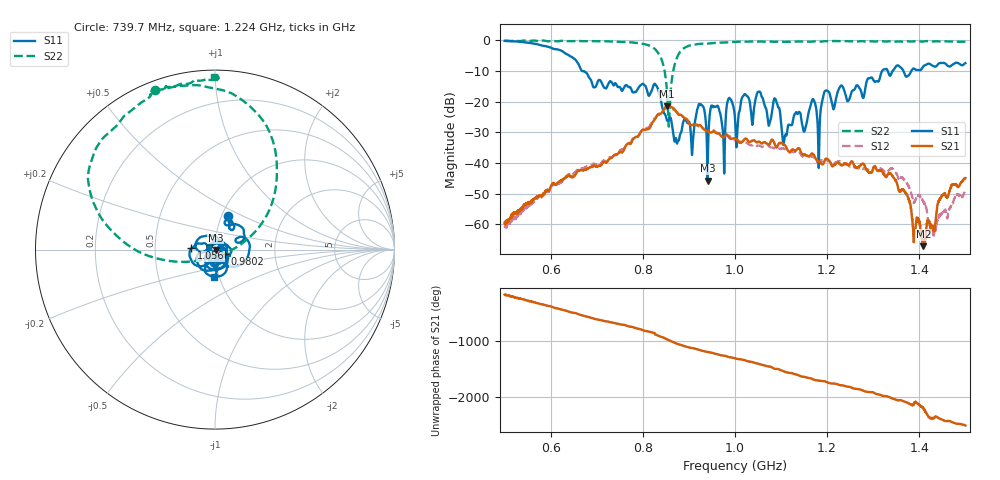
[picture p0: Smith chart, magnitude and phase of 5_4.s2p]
!Agilent Technologies,E8364B,US42250235,A.06.04.32
!Agilent E8364B: A.06.04.32
!Date: Thursday, October 01, 2020 14:40:48
!Correction: S11(Full 2 Port(1,2)) S21(Full 2 Port(1,2)) S12(Full 2 Port(1,2)) S22(Full 2 Port(1,2))
!S2P File: Measurements: S11, S21, S12, S22:
# Hz S  dB  R 50
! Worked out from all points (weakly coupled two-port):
!   2650 points, 500 MHz to 1.5 GHz, reference 50 ohm
!   highest |S21| = -21.59 dB at 851.8 MHz (marker M1); lowest = -67.1 dB at 1.409 GHz (marker M2)
!   lowest |S11| = -45.8 dB at 940.5 MHz (marker M3), VSWR 1.01, Z = 50.5 - j0.205 ohm
!   |S11| at or under -10 dB: 667.7 MHz to 1.319 GHz (651.7 MHz wide, 65.6 % of centre); 1.331 GHz to 1.342 GHz (11.06 MHz wide, 0.827 % of centre); 1.365 GHz to 1.383 GHz (17.37 MHz wide, 1.26 % of centre)
!   |S22| runs from -28.1 to -0.1 dB; largest |S21 - S12| = 0.034
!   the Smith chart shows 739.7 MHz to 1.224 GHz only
!   S11 on the Smith chart (normalised r, x): 739.7 MHz: 1.08, +0.41; 980.2 MHz: 1.11, -0.06; 1.056 GHz: 0.77, +0.01; 1.224 GHz: 0.94, -0.29
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5e8  -0.24 -175.1  -59.60 -176.6  -60.97 159.8  -0.16 136.0
5.962627e8  -2.19 123.0  -49.14 -18.8  -49.38 -24.5  -0.34 126.6
6.668554e8  -9.84 65.3  -42.29 176.3  -41.89 -175.9  -0.31 119.7
7.397131e8  -14.02 68.3  -37.28 32.1  -37.47 46.1  -0.44 110.5
8.337108e8  -16.24 -36.7  -24.03 170.2  -24.32 -168.3  -4.27 56.0
8.518309e8  -25.93 -60.6  -21.59 108.6  -21.75 132.2  -15.54 14.8
8.839185e8  -29.59 93.5  -24.44 2.3  -24.48 23.9  -3.27 162.2
9.258211e8  -20.88 -27.8  -27.82 -91.8  -28.07 -71.2  -1.16 137.8
9.405436e8  -45.78 -23.2  -29.65 -119.1  -29.79 -100.6  -1.12 130.4
9.518686e8  -21.67 -53.3  -29.74 -137.6  -29.22 -124.8  -0.96 125.1
9.801812e8  -24.60 -26.0  -30.85 169.1  -31.05 174.7  -0.74 114.9
9.884862e8  -18.95 -94.6  -31.95 147.7  -31.39 155.1  -0.66 112.9
1.000189e9  -25.93 -152.8  -32.05 127.5  -32.64 130.0  -0.56 112.1
1.056436e9  -17.62 176.8  -33.54 16.2  -34.58 17.5  -0.41 111.5
1.107399e9  -31.73 -111.2  -34.09 -109.4  -35.41 -80.7  -0.56 103.7
1.166667e9  -19.87 -50.0  -36.91 123.4  -37.78 164.1  -0.47 90.8
1.181767e9  -41.62 -68.6  -39.48 90.7  -39.56 140.6  -0.47 91.1
1.223669e9  -16.47 -92.6  -39.88 20.2  -39.57 63.1  -0.33 90.3
1.333522e9  -10.85 -158.5  -43.28 160.4  -42.47 -142.1  -0.39 77.5
1.409022e9  -8.44 -177.3  -67.09 -50.1  -52.68 32.6  -0.43 70.2
1.432427e9  -8.57 163.9  -62.21 144.4  -62.42 -28.1  -0.39 70.3
1.5e9  -7.47 143.6  -44.93 10.2  -48.99 43.4  -0.52 63.5
